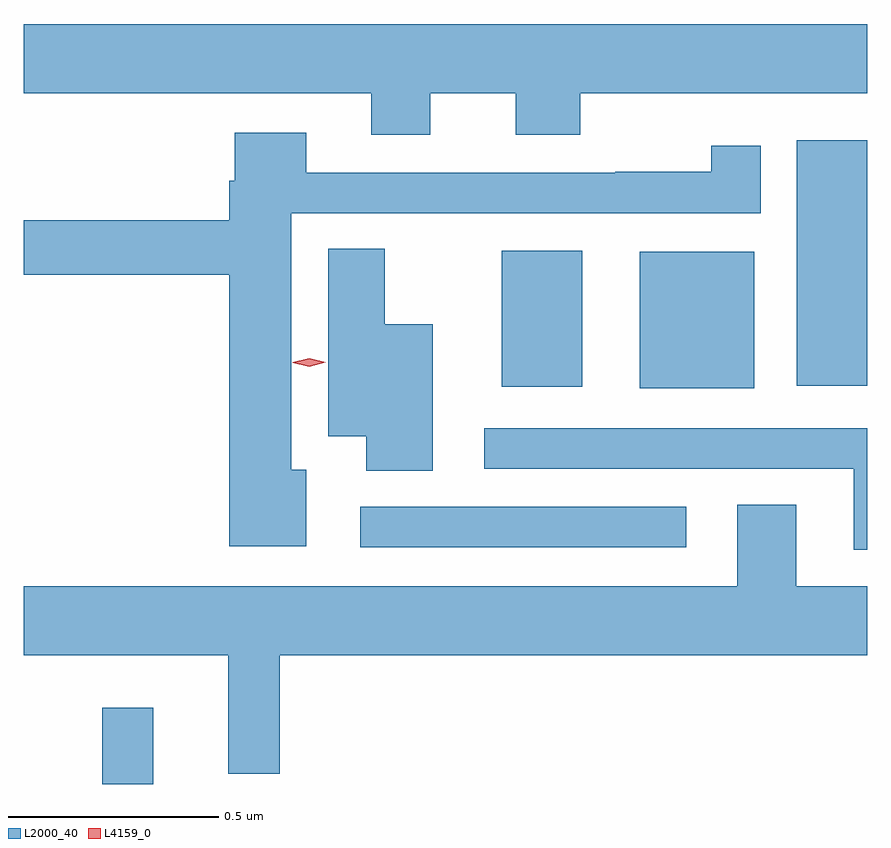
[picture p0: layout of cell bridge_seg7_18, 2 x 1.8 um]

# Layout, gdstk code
import gdstk
lib = gdstk.Library(unit=1e-6, precision=1e-09)
def R(c, l, rs):  # rectangles x0, y0, x1, y1
    for r in rs: c.add(gdstk.rectangle(r[:2], r[2:], *l))
def P(c, l, *ps):  # polygons
    for p in ps: c.add(gdstk.Polygon(p, *l))
L2000_40 = (2000, 40)
L4159_0 = (4159, 0)

bridge_seg7_18 = lib.new_cell('bridge_seg7_18')
R(bridge_seg7_18, L2000_40, [(1056.156,1069.575,1056.277,1069.756), (1056.768,1070.136,1057.54,1070.232), (1057.43,1070.513,1057.702,1070.836), (1057.103,1070.516,1057.294,1070.839), (1057.802,1070.519,1057.97,1071.1)])
P(bridge_seg7_18, L2000_40, [(1056.934,1071.212),(1057.136,1071.212),(1057.136,1071.113),(1057.289,1071.113),(1057.289,1071.212),(1057.97,1071.212),(1057.97,1071.376),(1055.97,1071.376),(1055.97,1071.212),(1056.794,1071.212),(1056.794,1071.113),(1056.934,1071.113)],
  [(1056.64,1070.32),(1056.604,1070.32),(1056.604,1070.928),(1057.717,1070.928),(1057.717,1071.088),(1057.6,1071.088),(1057.6,1071.026),(1057.372,1071.026),(1057.372,1071.024),(1056.64,1071.024),(1056.64,1071.118),(1056.47,1071.118),(1056.47,1071.005),(1056.458,1071.005),(1056.458,1070.911),(1055.97,1070.911),(1055.97,1070.782),(1056.458,1070.782),(1056.458,1070.138),(1056.64,1070.138)],
  [(1056.94,1070.665),(1056.826,1070.665),(1056.826,1070.843),(1056.692,1070.843),(1056.692,1070.399),(1056.782,1070.399),(1056.782,1070.317),(1056.94,1070.317)],
  [(1057.97,1070.418),(1057.062,1070.418),(1057.062,1070.322),(1057.937,1070.322),(1057.937,1070.13),(1057.97,1070.13)],
  [(1056.577,1069.88),(1057.97,1069.88),(1057.97,1070.044),(1057.801,1070.044),(1057.801,1070.237),(1057.661,1070.237),(1057.661,1070.044),(1055.97,1070.044),(1055.97,1069.88),(1056.455,1069.88),(1056.455,1069.599),(1056.577,1069.599)])
P(bridge_seg7_18, L4159_0, [(1056.647,1070.564),(1056.608,1070.573),(1056.608,1070.573),(1056.608,1070.574),(1056.647,1070.584),(1056.686,1070.574),(1056.686,1070.574),(1056.686,1070.574)])

lib.write_gds('bridge_seg7_18.gds')
